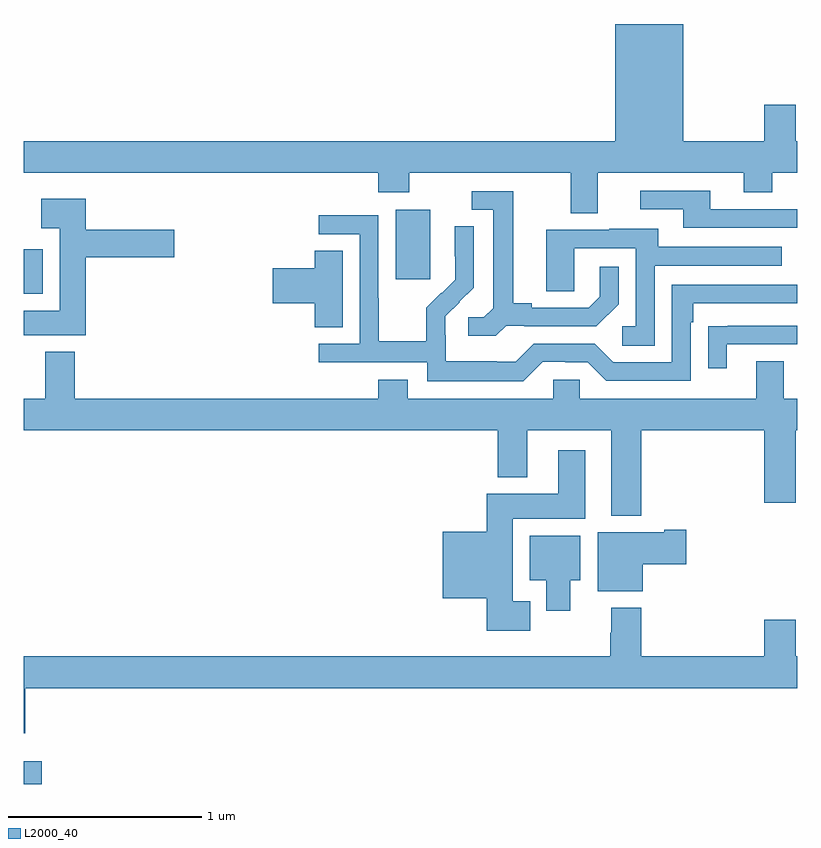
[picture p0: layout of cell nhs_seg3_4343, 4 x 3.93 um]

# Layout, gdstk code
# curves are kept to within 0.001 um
import gdstk
lib = gdstk.Library(unit=1e-6, precision=1e-09)
def R(c, l, rs):  # rectangles x0, y0, x1, y1
    for r in rs: c.add(gdstk.rectangle(r[:2], r[2:], *l))
def P(c, l, *ps):  # polygons
    for p in ps: c.add(gdstk.Polygon(p, *l))
L2000_40 = (2000, 40)

nhs_seg3_4343 = lib.new_cell('nhs_seg3_4343')
R(nhs_seg3_4343, L2000_40, [(341,720.4,341.092,720.517), (341,722.936,341.098,723.166), (342.923,723.009,343.102,723.37)])
P(nhs_seg3_4343, L2000_40, [(343.969,723.56),(344.723,723.56),(344.723,723.461),(344.871,723.461),(344.871,723.56),(345,723.56),(345,723.724),(344.992,723.724),(344.992,723.913),(344.828,723.913),(344.828,723.724),(344.41,723.724),(344.41,724.33),(344.06,724.33),(344.06,723.724),(341,723.724),(341,723.56),(342.833,723.56),(342.833,723.461),(342.993,723.461),(342.993,723.56),(343.829,723.56),(343.829,723.352),(343.969,723.352)],
  [(345,723.372),(344.551,723.372),(344.551,723.468),(344.187,723.468),(344.187,723.372),(344.411,723.372),(344.411,723.276),(345,723.276)],
  [(343.494,722.769),(343.588,722.769),(343.588,722.766),(343.96,722.766),(344.076,722.882),(344.076,723.076),(343.979,723.076),(343.979,722.919),(343.922,722.862),(343.627,722.862),(343.627,722.885),(343.531,722.885),(343.531,723.465),(343.317,723.465),(343.317,723.369),(343.427,723.369),(343.427,722.861),(343.38,722.814),(343.299,722.814),(343.299,722.717),(343.442,722.717)],
  [(341.321,723.125),(341.779,723.125),(341.779,723.267),(341.321,723.267),(341.321,723.427),(341.091,723.427),(341.091,723.275),(341.186,723.275),(341.186,722.848),(341,722.848),(341,722.72),(341.321,722.72)],
  [(343.683,722.583),(343.799,722.583),(343.799,722.58),(343.917,722.58),(344.013,722.484),(344.448,722.484),(344.448,722.789),(344.461,722.789),(344.461,722.886),(345,722.886),(345,722.982),(344.352,722.982),(344.352,722.58),(344.049,722.58),(343.953,722.676),(343.638,722.676),(343.545,722.583),(343.445,722.583),(343.445,722.587),(343.182,722.587),(343.182,722.721),(343.18,722.721),(343.18,722.818),(343.326,722.966),(343.326,723.284),(343.23,723.284),(343.23,723.13),(343.232,723.13),(343.232,723.008),(343.161,722.937),(343.158,722.94),(343.081,722.863),(343.081,722.689),(342.837,722.689),(342.837,722.912),(342.834,722.912),(342.834,723.342),(342.525,723.342),(342.525,723.243),(342.738,723.243),(342.738,722.676),(342.525,722.676),(342.525,722.58),(343.086,722.58),(343.086,722.483),(343.583,722.483)],
  [(344.262,723.081),(344.921,723.081),(344.921,723.177),(344.281,723.177),(344.281,723.271),(344.027,723.271),(344.027,723.267),(343.703,723.267),(343.703,722.947),(343.848,722.947),(343.848,723.171),(344.166,723.171),(344.166,722.766),(344.094,722.766),(344.094,722.665),(344.262,722.665)],
  [(342.649,723.158),(342.506,723.158),(342.506,723.068),(342.288,723.068),(342.288,722.885),(342.506,722.885),(342.506,722.761),(342.649,722.761)],
  [(344.635,722.673),(345,722.673),(345,722.769),(344.641,722.769),(344.641,722.768),(344.539,722.768),(344.539,722.55),(344.635,722.55)],
  [(344.039,721.787),(344.192,721.787),(344.192,722.228),(344.828,722.228),(344.828,721.854),(344.992,721.854),(344.992,722.228),(345,722.228),(345,722.392),(344.929,722.392),(344.929,722.587),(344.789,722.587),(344.789,722.392),(343.875,722.392),(343.875,722.49),(343.737,722.49),(343.737,722.392),(342.985,722.392),(342.985,722.491),(342.833,722.491),(342.833,722.392),(341.264,722.392),(341.264,722.635),(341.111,722.635),(341.111,722.392),(341,722.392),(341,722.228),(343.451,722.228),(343.451,721.985),(343.603,721.985),(343.603,722.228),(344.039,722.228)],
  [(343.618,721.345),(343.528,721.345),(343.528,721.772),(343.903,721.772),(343.903,722.125),(343.763,722.125),(343.763,721.9),(343.394,721.9),(343.394,721.705),(343.166,721.705),(343.166,721.361),(343.394,721.361),(343.394,721.193),(343.618,721.193)],
  [(344.2,721.537),(344.425,721.537),(344.425,721.715),(344.312,721.715),(344.312,721.702),(343.967,721.702),(343.967,721.397),(344.2,721.397)],
  [(343.825,721.454),(343.879,721.454),(343.879,721.684),(343.616,721.684),(343.616,721.454),(343.703,721.454),(343.703,721.296),(343.825,721.296)],
  [(341.009,720.896),(345,720.896),(345,721.06),(344.992,721.06),(344.992,721.249),(344.828,721.249),(344.828,721.06),(344.192,721.06),(344.192,721.312),(344.039,721.312),(344.039,721.181),(344.032,721.181),(344.032,721.06),(341,721.06),(341,720.663),(341.009,720.663)])

lib.write_gds('nhs_seg3_4343.gds')
